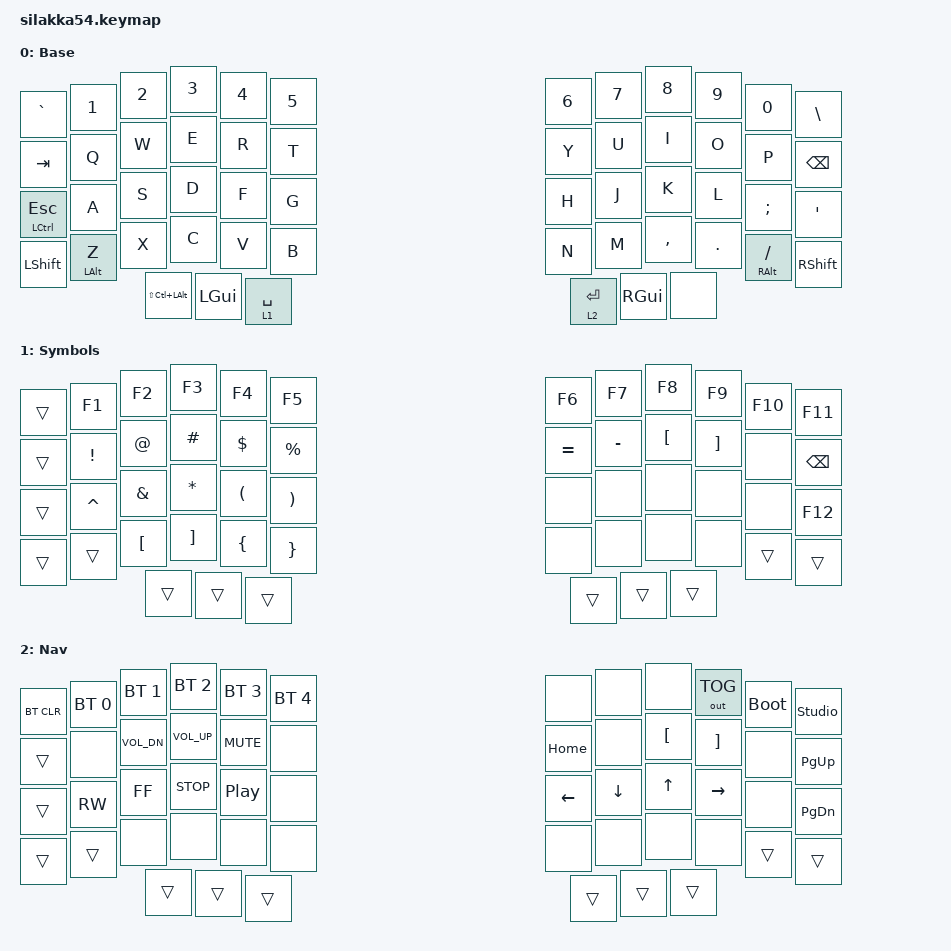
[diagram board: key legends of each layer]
/*
 * Silakka54 keymap, read off the old Vial Silakka54 over the VIA raw HID
 * protocol (2026-10-11), so it matches what the hands already know.
 */

#include <behaviors.dtsi>
#include <dt-bindings/zmk/keys.h>
#include <dt-bindings/zmk/bt.h>
#include <dt-bindings/zmk/outputs.h>

/* Typing rolls (Z then X, Space then a letter) must stay taps. Stock &mt is
 * hold-preferred: any key pressed while Z is still down turns Z into Alt,
 * which on macOS types a special character. Balanced only holds when another
 * key is pressed and released inside the hold; require-prior-idle makes a
 * key pressed mid-word always a tap; quick-tap keeps tap-then-hold
 * repeating the key (Space held for repeat). */
&mt {
    flavor = "balanced";
    tapping-term-ms = <280>;
    quick-tap-ms = <175>;
    require-prior-idle-ms = <150>;
};

&lt {
    flavor = "balanced";
    tapping-term-ms = <200>;
    quick-tap-ms = <175>;
    require-prior-idle-ms = <150>;
};

/ {
    keymap {
        compatible = "zmk,keymap";

        base_layer {
// |   `   |  1  |  2  |  3  |  4  |  5  |                  |  6  |  7  |  8  |  9  |  0  |   \   |
// |  TAB  |  Q  |  W  |  E  |  R  |  T  |                  |  Y  |  U  |  I  |  O  |  P  | BSPC  |
// |CTL/ESC|  A  |  S  |  D  |  F  |  G  |                  |  H  |  J  |  K  |  L  |  ;  |   '   |
// | SHIFT |ALT/Z|  X  |  C  |  V  |  B  |                  |  N  |  M  |  ,  |  .  |RALT//| SHIFT |
//                     | MEH | CMD |L1/SPC|                 |L2/ENT| CMD |     |
            display-name = "Base";
            bindings = <
&kp GRAVE     &kp N1        &kp N2 &kp N3   &kp N4   &kp N5                       &kp N6    &kp N7   &kp N8    &kp N9  &kp N0       &kp BSLH
&kp TAB       &kp Q         &kp W  &kp E    &kp R    &kp T                        &kp Y     &kp U    &kp I     &kp O   &kp P        &kp BSPC
&mt LCTRL ESC &kp A         &kp S  &kp D    &kp F    &kp G                        &kp H     &kp J    &kp K     &kp L   &kp SEMI     &kp SQT
&kp LSHFT     &mt LALT Z    &kp X  &kp C    &kp V    &kp B                        &kp N     &kp M    &kp COMMA &kp DOT &mt RALT FSLH &kp RSHFT
                            &kp LS(LC(LALT)) &kp LGUI &lt 1 SPACE                 &lt 2 RET &kp RGUI &none
            >;
        };

        symbols_layer {
// |       | F1  | F2  | F3  | F4  | F5  |                  | F6  | F7  | F8  | F9  | F10 |  F11  |
// |       |  !  |  @  |  #  |  $  |  %  |                  |  =  |  -  |  [  |  ]  |     | BSPC  |
// |       |  ^  |  &  |  *  |  (  |  )  |                  |     |     |     |     |     |  F12  |
// |       |     |  [  |  ]  |  {  |  }  |                  |     |     |     |     |     |       |
//                     |     |     |     |                  |     |     |     |
            display-name = "Symbols";
            bindings = <
&trans &kp F1    &kp F2   &kp F3   &kp F4   &kp F5                       &kp F6    &kp F7    &kp F8   &kp F9   &kp F10 &kp F11
&trans &kp EXCL  &kp AT   &kp HASH &kp DLLR &kp PRCNT                    &kp EQUAL &kp MINUS &kp LBKT &kp RBKT &none   &kp BSPC
&trans &kp CARET &kp AMPS &kp STAR &kp LPAR &kp RPAR                     &none     &none     &none    &none    &none   &kp F12
&trans &trans    &kp LBKT &kp RBKT &kp LBRC &kp RBRC                     &none     &none     &none    &none    &trans  &trans
                          &trans   &trans   &trans                       &trans    &trans    &trans
            >;
        };

        nav_layer {
// | BTCLR | BT0 | BT1 | BT2 | BT3 | BT4 |                  |     |     |     |USB/BT|BOOT |UNLOCK |
// |       |     |VOL- |VOL+ |MUTE |     |                  | HOME|     |  [  |  ]  |     | PGUP  |
// |       | RW  | FF  |STOP |PLAY |     |                  | <-  |  v  |  ^  |  -> |     | PGDN  |
// |       |     |     |     |     |     |                  |     |     |     |     |     |       |
//                     |     |     |     |                  |     |     |     |
            display-name = "Nav";
            bindings = <
&bt BT_CLR &bt BT_SEL 0 &bt BT_SEL 1 &bt BT_SEL 2 &bt BT_SEL 3 &bt BT_SEL 4             &none    &none    &none    &out OUT_TOG &bootloader &studio_unlock
&trans     &none        &kp C_VOL_DN &kp C_VOL_UP &kp C_MUTE   &none                    &kp HOME &none    &kp LBKT &kp RBKT     &none       &kp PG_UP
&trans     &kp C_RW     &kp C_FF     &kp C_STOP   &kp C_PP     &none                    &kp LEFT &kp DOWN &kp UP   &kp RIGHT    &none       &kp PG_DN
&trans     &trans       &none        &none        &none        &none                    &none    &none    &none    &none        &trans      &trans
                                     &trans       &trans       &trans                   &trans   &trans   &trans
            >;
        };

        extra_1 {
            status = "reserved";
        };

        extra_2 {
            status = "reserved";
        };
    };
};
